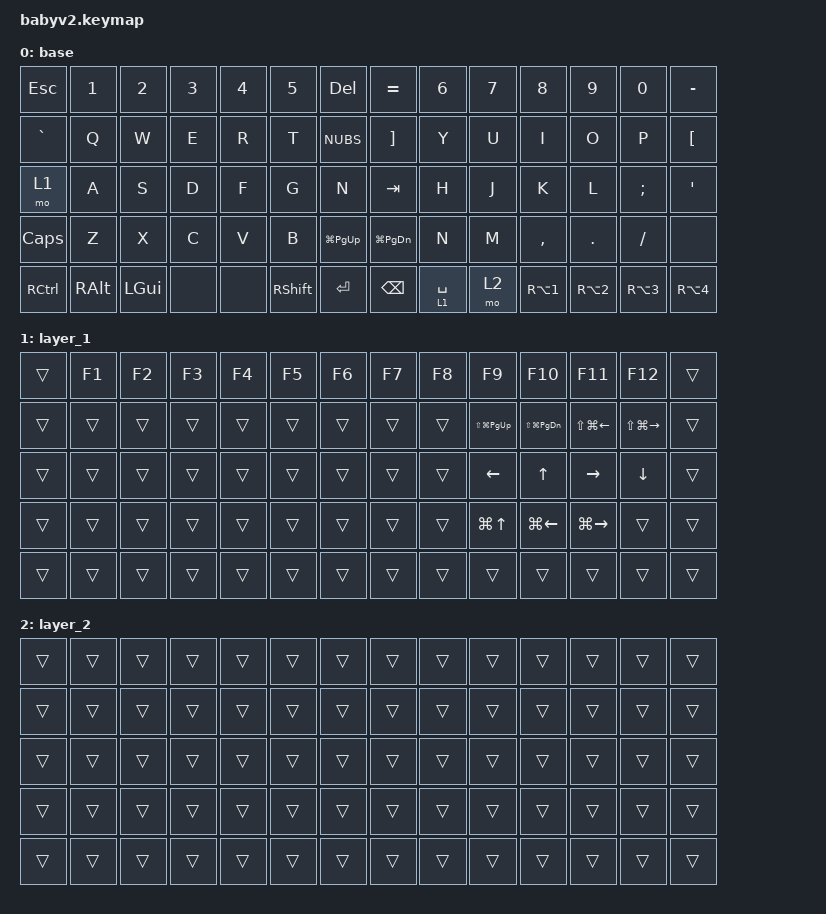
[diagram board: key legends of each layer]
#include <dt-bindings/zmk/keys.h>
#include <dt-bindings/zmk/outputs.h>
#include <behaviors.dtsi>
#include <dt-bindings/zmk/bt.h>
#include <dt-bindings/led/led.h>
#include <dt-bindings/zmk/rgb.h>
/{
  behaviors{
    // allows for diffrent keys on press vs on tap
    mt: custom_mod_tap {
        compatible = "zmk,behavior-hold-tap";
        #binding-cells = <2>;
        flavor = "tap-preferred";
        // ammount of time untill classified as a press 
        tapping-term-ms = <200>;
        // When taping twice quickly ignores hold for second press
        // increase when cant press key fast engough quick-tap-ms = <125>;
        quick-tap-ms = <125>;
        bindings = <&kp>, <&kp>;
    };
    // allows for capitalizing untill space pressed
    caps_word: caps_word{
        compatible = "zmk,behavior-caps-word";
        #binding-cells = <0>;
        continue-list = <UNDERSCORE MINUS BSPC>; 
    };
  };

};

/ {
    keymap {
        compatible = "zmk,keymap";
        base {
          bindings = <
            &kp ESC      &kp N1   &kp N2   &kp N3 &kp N4 &kp N5    &kp DEL       &kp EQUAL     &kp N6        &kp N7 &kp N8      &kp N9   &kp N0     &kp MINUS
            &kp GRAVE    &kp Q    &kp W    &kp E  &kp R  &kp T     &kp NUBS      &kp RBKT      &kp Y         &kp U  &kp I       &kp O      &kp P      &kp LBKT
            &mo 1        &kp A    &kp S    &kp D  &kp F  &kp G     &kp N         &kp TAB       &kp H         &kp J  &kp K       &kp L      &kp SEMI   &kp SQT
            &kp CAPS     &kp Z    &kp X    &kp C  &kp V  &kp B     &kp LG(PG_UP) &kp LG(PG_DN) &kp N         &kp M  &kp COMMA   &kp DOT    &kp SLASH  &none
            &kp RCTRL    &kp RALT &kp LGUI &none  &none  &kp RSHFT &kp RET       &kp BSPC      &lt 1 SPACE   &mo 2  &kp RA(N1)  &kp RA(N2) &kp RA(N3) &kp RA(N4)
          >;
        };
        layer_1 {
          bindings = <
            &trans &kp F1       &kp F2       &kp F3       &kp F4       &kp F5        &kp F6 &kp F7 &kp F8 &kp F9            &kp F10           &kp F11          &kp F12           &trans
            &trans &trans       &trans       &trans       &trans       &trans        &trans &trans &trans &kp LS(LG(PG_UP)) &kp LS(LG(PG_DN)) &kp LS(LG(LEFT)) &kp LS(LG(RIGHT)) &trans
            &trans &trans       &trans       &trans       &trans       &trans        &trans &trans &trans &kp LEFT          &kp UP            &kp RIGHT        &kp DOWN          &trans
            &trans &trans       &trans       &trans       &trans       &trans        &trans &trans &trans &kp LG(UP)        &kp LG(LEFT)      &kp LG(RIGHT)    &trans            &trans
            &trans &trans       &trans       &trans       &trans       &trans        &trans &trans &trans &trans            &trans            &trans           &trans            &trans
          >;
        };
        layer_2{
          bindings = <
            &trans &trans &trans &trans &trans &trans &trans &trans &trans &trans          &trans          &trans          &trans &trans
            &trans &trans &trans &trans &trans &trans &trans &trans &trans &trans          &trans          &trans          &trans &trans
            &trans &trans &trans &trans &trans &trans &trans &trans &trans &trans          &trans          &trans          &trans &trans
            &trans &trans &trans &trans &trans &trans &trans &trans &trans &trans          &trans          &trans          &trans &trans
            &trans &trans &trans &trans &trans &trans &trans &trans &trans &trans          &trans          &trans          &trans &trans
          >;
        };
    };
};
// copy for new layer_1
// &trans &trans &trans &trans &trans &trans &trans &trans &trans &trans &trans &trans &trans &trans

&pinctrl {
    spi3_default: spi3_default {
        group1 {
            psels = <NRF_PSEL(SPIM_MOSI, 0, 8)>;
        };
    };

    spi3_sleep: spi3_sleep {
      group1 {
            psels = <NRF_PSEL(SPIM_MOSI, 0, 8)>;
            low-power-enable;
        };
    };
};

&spi3 {
    compatible = "nordic,nrf-spim";
    status = "okay";

    pinctrl-0 = <&spi3_default>;
    pinctrl-1 = <&spi3_sleep>;
    pinctrl-names = "default", "sleep";

    led_strip: ws2812@0 {
        compatible = "worldsemi,ws2812-spi";

        /* SPI */
        reg = <0>; /* ignored, but necessary for SPI bindings */
        spi-max-frequency = <4000000>;

        /* WS2812 */
        chain-length = <68>; /* number of LEDs */
        spi-one-frame = <0x70>;
        spi-zero-frame = <0x40>;
        color-mapping = <LED_COLOR_ID_GREEN
                         LED_COLOR_ID_RED
                         LED_COLOR_ID_BLUE>;
    };
};

/{
  chosen {zmk,underglow = &led_strip;};
};
